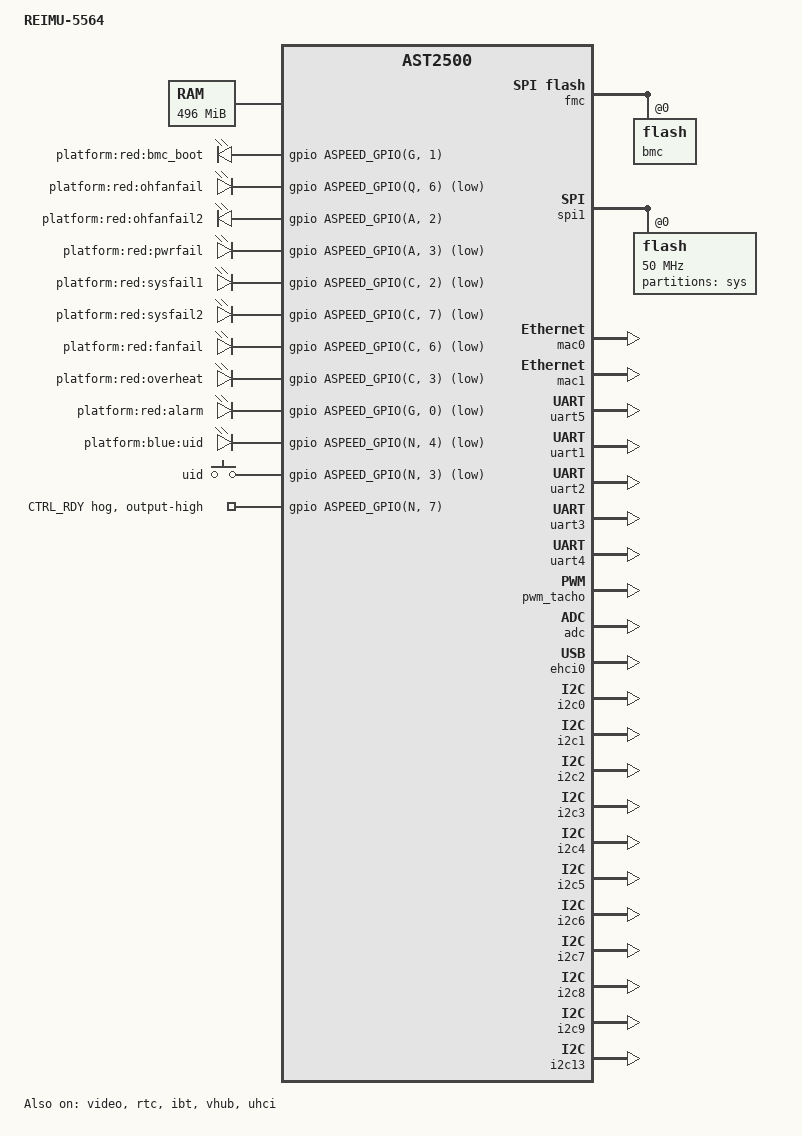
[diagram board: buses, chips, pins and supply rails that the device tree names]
// SPDX-License-Identifier: GPL-2.0+
// REIMU-5564 (1Э8СВ-uATX), ported from the MCST 5.10 tree (aspeed-bmc-mcst-*.dtsi)
// with the A/B flash layout (reimu-ab64.dtsi). Only wdt1 is enabled (wdt2 has
// the second-flash boot bit).
/dts-v1/;

#include "aspeed-g5.dtsi"
#include <dt-bindings/gpio/aspeed-gpio.h>

/ {
	model = "REIMU-5564";
	compatible = "mcst,reimu-5564", "aspeed,ast2500";

	aliases {
		serial4 = &uart5;
		serial0 = &uart1;
	};

	chosen {
		stdout-path = "serial4:115200n8";
		bootargs = "console=ttyS4,115200 earlyprintk";
	};

	/* DRAM is at 0x80000000; U-Boot writes the size (512 MiB less the 16 MiB
	 * it gives the VGA). The MCST dtsi had a "memory" node at 0x40000000
	 * without device_type, which 5.10 ignored, and reserved regions at
	 * 0x5c000000/0x5f000000, outside the DRAM. */
	memory@80000000 {
		device_type = "memory";
		reg = <0x80000000 0x1f000000>;
	};

	reserved-memory {
		#address-cells = <1>;
		#size-cells = <1>;
		ranges;

		video_engine_memory: jpegbuffer {
			size = <0x02000000>;
			alignment = <0x01000000>;
			compatible = "shared-dma-pool";
			reusable;
		};
	};

	leds {
		compatible = "gpio-leds";
		bmc_boot {
			label = "platform:red:bmc_boot";
			gpios = <&gpio ASPEED_GPIO(G, 1) GPIO_ACTIVE_HIGH>;
			linux,default-trigger = "timer";
		};
		ohfanfail {
			label = "platform:red:ohfanfail";
			gpios = <&gpio ASPEED_GPIO(Q, 6) GPIO_ACTIVE_LOW>;
		};
		ohfanfail2 {
			label = "platform:red:ohfanfail2";
			gpios = <&gpio ASPEED_GPIO(A, 2) GPIO_ACTIVE_HIGH>;
		};
		pwrfail {
			label = "platform:red:pwrfail";
			gpios = <&gpio ASPEED_GPIO(A, 3) GPIO_ACTIVE_LOW>;
		};
		sysfail1 {
			label = "platform:red:sysfail1";
			gpios = <&gpio ASPEED_GPIO(C, 2) GPIO_ACTIVE_LOW>;
		};
		sysfail2 {
			label = "platform:red:sysfail2";
			gpios = <&gpio ASPEED_GPIO(C, 7) GPIO_ACTIVE_LOW>;
		};
		fanfail {
			label = "platform:red:fanfail";
			gpios = <&gpio ASPEED_GPIO(C, 6) GPIO_ACTIVE_LOW>;
		};
		overheat {
			label = "platform:red:overheat";
			gpios = <&gpio ASPEED_GPIO(C, 3) GPIO_ACTIVE_LOW>;
		};
		alarm {
			label = "platform:red:alarm";
			gpios = <&gpio ASPEED_GPIO(G, 0) GPIO_ACTIVE_LOW>;
		};
		uid {
			label = "platform:blue:uid";
			gpios = <&gpio ASPEED_GPIO(N, 4) GPIO_ACTIVE_LOW>;
		};
	};

	gpio-keys {
		compatible = "gpio-keys";
		uid {
			label = "uid";
			linux,code = <148>;
			gpios = <&gpio ASPEED_GPIO(N, 3) GPIO_ACTIVE_LOW>;
		};
	};
};

&fmc {
	status = "okay";
	flash@0 {
		status = "okay";
		m25p,fast-read;
		label = "bmc";
		#include "reimu-ab64.dtsi"
	};
};

/* the PNS (host boot firmware) flash: shared with the host through a GPIO
 * SPI switch (GPIO_SPI_CONNECT); found at a BMC cold boot, when the switch
 * is on the BMC's side; /dev/mtd/sys for reimu-pns and update-host-flash */
&spi1 {
	status = "okay";
	pinctrl-names = "default";
	pinctrl-0 = <&pinctrl_spi1_default>;
	flash@0 {
		status = "okay";
		m25p,fast-read;
		spi-max-frequency = <50000000>;
		/* the whole chip as one partition (the kernel truncates it to the
		 * chip's size): a partition can be made read-only (the test device
		 * tree of reimu-ab), the MTD master can't */
		partitions {
			compatible = "fixed-partitions";
			#address-cells = <1>;
			#size-cells = <1>;
			sys@0 { reg = <0x0 0x8000000>; label = "sys"; };
		};
	};
};

&wdt2 {
	status = "disabled";
};

&video {
	status = "okay";
	memory-region = <&video_engine_memory>;
};

&rtc { status = "okay"; };

&gpio {
	gpioready {
		gpios = <ASPEED_GPIO(N, 7) GPIO_ACTIVE_HIGH>;
		gpio-hog;
		output-high;
		line-name = "CTRL_RDY";
	};
};

&mac0 { status = "okay"; };
&mac1 { status = "okay"; };
&uart5 { status = "okay"; };
&ibt { status = "okay"; };

&uart1 {
	status = "okay";
	pinctrl-names = "default";
	pinctrl-0 = <&pinctrl_txd1_default &pinctrl_rxd1_default>;
};
&uart2 {
	status = "okay";
	pinctrl-names = "default";
	pinctrl-0 = <&pinctrl_txd2_default &pinctrl_rxd2_default>;
};
&uart3 {
	status = "okay";
	pinctrl-names = "default";
	pinctrl-0 = <&pinctrl_txd3_default &pinctrl_rxd3_default>;
};
&uart4 {
	status = "okay";
	pinctrl-names = "default";
	pinctrl-0 = <&pinctrl_txd4_default &pinctrl_rxd4_default>;
};

&pwm_tacho {
	status = "okay";
	fan@0 { reg = <0x00>; aspeed,fan-tach-ch = /bits/ 8 <0x07>; };
	fan@1 { reg = <0x01>; aspeed,fan-tach-ch = /bits/ 8 <0x08>; };
	fan@2 { reg = <0x02>; aspeed,fan-tach-ch = /bits/ 8 <0x09>; };
	fan@3 { reg = <0x03>; aspeed,fan-tach-ch = /bits/ 8 <0x0a>; };
	fan@4 { reg = <0x04>; aspeed,fan-tach-ch = /bits/ 8 <0x0c>; };
	fan@5 { reg = <0x05>; aspeed,fan-tach-ch = /bits/ 8 <0x0d>; };
	fan@6 { reg = <0x06>; aspeed,fan-tach-ch = /bits/ 8 <0x0e>; };
	fan@7 { reg = <0x07>; aspeed,fan-tach-ch = /bits/ 8 <0x0f>; };
};

&adc { status = "okay"; };
&vhub { status = "okay"; };
&uhci { status = "okay"; };
&ehci0 { status = "okay"; };

&i2c0 { status = "okay"; };
&i2c1 { status = "okay"; };
&i2c2 { status = "okay"; };
&i2c3 { status = "okay"; };
&i2c4 { status = "okay"; };
&i2c5 { status = "okay"; };
&i2c6 { status = "okay"; };
&i2c7 { status = "okay"; };
&i2c8 { status = "okay"; };
&i2c9 { status = "okay"; };
&i2c13 { status = "okay"; };
